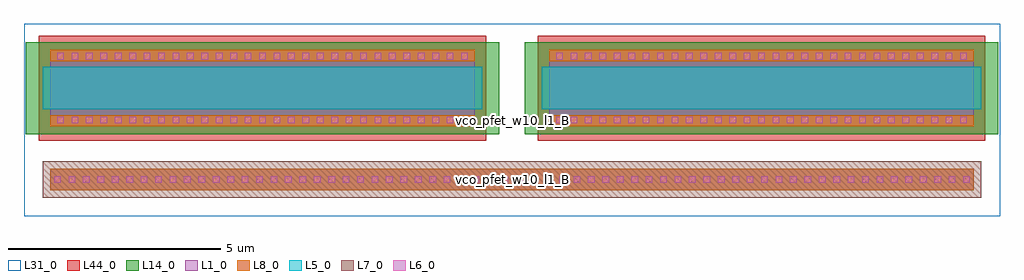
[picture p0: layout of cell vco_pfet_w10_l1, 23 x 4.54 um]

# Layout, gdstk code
import gdstk
lib = gdstk.Library(unit=1e-6, precision=1e-09)
def R(c, l, rs):  # rectangles x0, y0, x1, y1
    for r in rs: c.add(gdstk.rectangle(r[:2], r[2:], *l))
def A(c, l, x, y, w, h, nx, ny, dx, dy):  # array of equal rectangles
    R(c, l, [(x+i*dx, y+j*dy, x+i*dx+w, y+j*dy+h) for i in range(nx) for j in range(ny)])
L1_0 = (1, 0)
L5_0 = (5, 0)
L6_0 = (6, 0)
L7_0 = (7, 0)
L8_0 = (8, 0)
L14_0 = (14, 0)
L31_0 = (31, 0)
L44_0 = (44, 0)

vco_pfet_w10_l1 = lib.new_cell('vco_pfet_w10_l1')
R(vco_pfet_w10_l1, L1_0, [(1.2,0.96,22.96,1.46), (1.2,2.46,11.2,4.26), (12.96,2.46,22.96,4.26)])
R(vco_pfet_w10_l1, L5_0, [(1.02,2.86,11.38,3.86), (12.78,2.86,23.14,3.86)])
A(vco_pfet_w10_l1, L6_0, 1.29, 1.13, 0.16, 0.16, 64, 1, 0.34, 0)
A(vco_pfet_w10_l1, L6_0, 1.36, 2.53, 0.16, 0.16, 29, 2, 0.34, 1.5)
A(vco_pfet_w10_l1, L6_0, 13.12, 2.53, 0.16, 0.16, 29, 2, 0.34, 1.5)
R(vco_pfet_w10_l1, L7_0, [(1.02,0.78,23.14,1.64)])
R(vco_pfet_w10_l1, L8_0, [(1.2,0.96,22.96,1.46), (1.2,2.46,11.2,2.72), (12.96,2.46,22.96,2.72), (1.2,4,11.2,4.26), (12.96,4,22.96,4.26)])
R(vco_pfet_w10_l1, L14_0, [(0.62,2.28,11.78,4.44), (12.38,2.28,23.54,4.44)])
R(vco_pfet_w10_l1, L31_0, [(0.58,0.34,23.58,4.88)])
R(vco_pfet_w10_l1, L44_0, [(0.93,2.12,11.47,4.6), (12.69,2.12,23.23,4.6)])
vco_pfet_w10_l1.add(gdstk.Label('vco_pfet_w10_l1_B', (12.08,1.21), layer=8, texttype=2))
vco_pfet_w10_l1.add(gdstk.Label('vco_pfet_w10_l1_B', (12.08,2.61), layer=31, texttype=2))

lib.write_gds('vco_pfet_w10_l1.gds')
